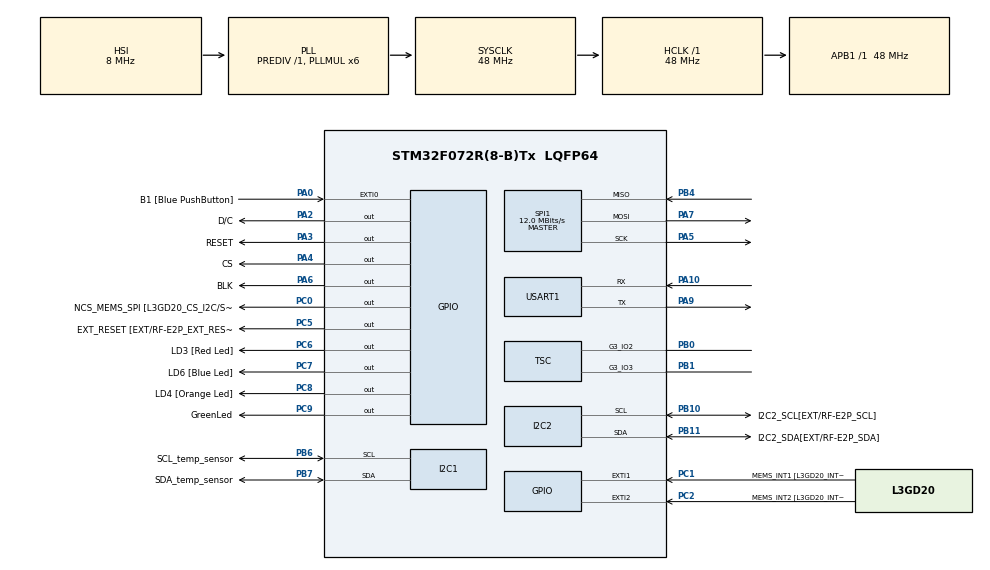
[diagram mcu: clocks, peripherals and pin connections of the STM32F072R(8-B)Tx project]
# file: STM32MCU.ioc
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I2C1.Timing=0x00201D2B
I2C2.Timing=0x20303E5D
Mcu.Family=STM32F0
Mcu.Name=STM32F072R(8-B)Tx
Mcu.Package=LQFP64
NVIC.TIM7_IRQn=true\:0\:0\:false\:false\:true\:true\:true\:true
PA0.GPIO_Label=B1 [Blue PushButton]
PA0.GPIO_ModeDefaultEXTI=GPIO_MODE_EVT_RISING
PA0.Signal=GPXTI0
PA10.Mode=Asynchronous
PA10.Signal=USART1_RX
PA13.GPIO_Label=SWDIO
PA13.Mode=Serial_Wire
PA13.Signal=SYS_SWDIO
PA14.GPIO_Label=SWCLK
PA14.Mode=Serial_Wire
PA14.Signal=SYS_SWCLK
PA2.GPIO_Label=D/C
PA2.Signal=GPIO_Output
PA3.GPIO_Label=RESET
PA3.Signal=GPIO_Output
PA4.GPIO_Label=CS
PA4.GPIO_Speed=GPIO_SPEED_FREQ_HIGH
PA4.PinState=GPIO_PIN_SET
PA4.Signal=GPIO_Output
PA5.Mode=Full_Duplex_Master
PA5.Signal=SPI1_SCK
PA6.GPIO_Label=BLK
PA6.Signal=GPIO_Output
PA7.Mode=Full_Duplex_Master
PA7.Signal=SPI1_MOSI
PA9.Mode=Asynchronous
PA9.Signal=USART1_TX
PB0.Mode=G3_IO2-Channel
PB0.Signal=TSC_G3_IO2
PB1.Mode=G3_IO3-Sampling
PB1.Signal=TSC_G3_IO3
PB10.GPIO_Label=I2C2_SCL[EXT/RF-E2P_SCL]
PB10.GPIO_Pu=GPIO_PULLUP
PB10.Mode=I2C
PB10.Signal=I2C2_SCL
PB11.GPIO_Label=I2C2_SDA[EXT/RF-E2P_SDA]
PB11.GPIO_Pu=GPIO_PULLUP
PB11.Mode=I2C
PB11.Signal=I2C2_SDA
PB4.Mode=Full_Duplex_Master
PB4.Signal=SPI1_MISO
PB6.GPIO_Label=SCL_temp_sensor
PB6.GPIO_Pu=GPIO_PULLUP
PB6.Mode=I2C
PB6.Signal=I2C1_SCL
PB7.GPIO_Label=SDA_temp_sensor
PB7.GPIO_Pu=GPIO_PULLUP
PB7.Mode=I2C
PB7.Signal=I2C1_SDA
PC0.GPIO_Label=NCS_MEMS_SPI [L3GD20_CS_I2C/SPI]
PC0.Signal=GPIO_Output
PC1.GPIO_Label=MEMS_INT1 [L3GD20_INT1]
PC1.GPIO_ModeDefaultEXTI=GPIO_MODE_EVT_RISING
PC1.Signal=GPXTI1
PC2.GPIO_Label=MEMS_INT2 [L3GD20_INT2]
PC2.GPIO_ModeDefaultEXTI=GPIO_MODE_EVT_RISING
PC2.Signal=GPXTI2
PC5.GPIO_Label=EXT_RESET [EXT/RF-E2P_EXT_RESET]
PC5.Signal=GPIO_Output
PC6.GPIO_Label=LD3 [Red Led]
PC6.Signal=GPIO_Output
PC7.GPIO_Label=LD6 [Blue Led]
PC7.Signal=GPIO_Output
PC8.GPIO_Label=LD4 [Orange Led]
PC8.Signal=GPIO_Output
PC9.GPIO_Label=GreenLed
PC9.Signal=GPIO_Output
ProjectManager.HeapSize=0x200
ProjectManager.StackSize=0x400
ProjectManager.TargetToolchain=STM32CubeIDE
RCC.AHBFreq_Value=48000000
RCC.APB1Freq_Value=48000000
RCC.APB1TimFreq_Value=48000000
RCC.HCLKFreq_Value=48000000
RCC.PLLMUL=RCC_PLL_MUL6
RCC.SYSCLKFreq_VALUE=48000000
RCC.SYSCLKSource=RCC_SYSCLKSOURCE_PLLCLK
SPI1.BaudRatePrescaler=SPI_BAUDRATEPRESCALER_4
SPI1.CLKPolarity=SPI_POLARITY_LOW
SPI1.CalculateBaudRate=12.0 MBits/s
SPI1.DataSize=SPI_DATASIZE_8BIT
SPI1.Direction=SPI_DIRECTION_2LINES
SPI1.Mode=SPI_MODE_MASTER
SPI1.NSSPMode=SPI_NSS_PULSE_DISABLE
SPI1.VirtualType=VM_MASTER
TIM7.AutoReloadPreload=TIM_AUTORELOAD_PRELOAD_DISABLE
TIM7.Period=4800
TIM7.Prescaler=0
TSC.ChannelIOs-G3_IO2=TSC_GROUP3_IO2
TSC.ChannelIOs-G3_IO2-Channel=TSC_GROUP3_IO2
TSC.SamplingIOs-G3_IO3=TSC_GROUP3_IO3
TSC.SamplingIOs-G3_IO3-Sampling=TSC_GROUP3_IO3
USART1.VirtualMode-Asynchronous=VM_ASYNC
VP_TIM7_VS_ClockSourceINT.Mode=Enable_Timer
board=STM32F072B-DISCO

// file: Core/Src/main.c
/* USER CODE BEGIN Header */
/**
  ******************************************************************************
  * @file           : main.c
  * @brief          : Main program body
  ******************************************************************************
  * @attention
  *
  * Copyright (c) 2024 STMicroelectronics.
  * All rights reserved.
  *
  * This software is licensed under terms that can be found in the LICENSE file
  * in the root directory of this software component.
  * If no LICENSE file comes with this software, it is provided AS-IS.
  *
  ******************************************************************************
  */
/* USER CODE END Header */
#include "main.h"

/* USER CODE BEGIN Includes */
#include <stdbool.h>
#include <stdio.h>
#include "tft.h"
#include "temperature.h"
#include "usbPowerDelivery.h"
/* USER CODE END Includes */

/* USER CODE BEGIN PTD */
#define HEARTBEAT_LED_TOGGLE_PERIOD_SEC  1.0

/* USER CODE END PTD */

I2C_HandleTypeDef hi2c1;
I2C_HandleTypeDef hi2c2;

SPI_HandleTypeDef hspi1;

TIM_HandleTypeDef htim7;

TSC_HandleTypeDef htsc;

UART_HandleTypeDef huart1;

/* USER CODE BEGIN PV */
static bool TIM7_IntFlag = false;
static uint16_t numTimer7InterruptsPerSec;

/* USER CODE END PV */

void SystemClock_Config(void);
static void MX_GPIO_Init(void);
static void MX_I2C2_Init(void);
static void MX_TSC_Init(void);
static void MX_TIM7_Init(void);
static void MX_I2C1_Init(void);
static void MX_SPI1_Init(void);
static void MX_USART1_UART_Init(void);

int main(void)
{

  /* USER CODE BEGIN 1 */
  char uartBuf[50];
  uint8_t uartBufLen;
  char spiBuf[20];
  /* USER CODE END 1 */

  /* MCU Configuration--------------------------------------------------------*/

  /* Reset of all peripherals, Initializes the Flash interface and the Systick. */
  HAL_Init();

  /* USER CODE BEGIN Init */
  //lcdInit(stInitCmds);
  /* USER CODE END Init */

  /* Configure the system clock */
  SystemClock_Config();

  /* Initialize all configured peripherals */
  MX_GPIO_Init();
  MX_I2C2_Init();
  MX_TSC_Init();
  MX_TIM7_Init();
  MX_I2C1_Init();
  MX_SPI1_Init();
  MX_USART1_UART_Init();
  /* USER CODE BEGIN 2 */
  numTimer7InterruptsPerSec = ((HAL_RCC_GetSysClockFreq() / (TIM7->PSC + 1)) / TIM7->ARR);
  uint16_t heartbeatToggleCounter = (uint16_t)(HEARTBEAT_LED_TOGGLE_PERIOD_SEC *
		                                       numTimer7InterruptsPerSec);
  //tft_select();
  temperatureInit();
  usbPowerDeliveryInit();
  HAL_TIM_Base_Start_IT(&htim7);

  uartBufLen = sprintf(uartBuf, "SPI Test\r\n");
  HAL_UART_Transmit(&huart1, (uint8_t *)uartBuf, uartBufLen, 100);
  lcdInit(stInitCmds);
  HAL_SPI_Receive(&hspi1, (uint8_t *)spiBuf, 1, 100);

  uartBufLen = sprintf(uartBuf, "Status: 0x%02x\r\n", (unsigned int)spiBuf[0]);
  HAL_UART_Transmit(&huart1, (uint8_t *)uartBuf, uartBufLen, 100);

  /* USER CODE END 2 */

  /* Infinite loop */
  /* USER CODE BEGIN WHILE */

  // testing only remove   temperatureStateMachine();
  temperatureStateMachine();
  usbPowerDeliveryStateMachine();
  while (1)
  {
	  // Timer 7 is currently set up to interrupt every 100us
	  if (true == TIM7_IntFlag) {
		  static uint16_t counter = 0;

		  if (++counter >= heartbeatToggleCounter) {
		  	  HAL_GPIO_TogglePin(GreenLed_GPIO_Port, GreenLed_Pin);
		  	  counter = 0;
	      }

		  //temperatureStateMachine();

		  TIM7_IntFlag = false;
	  }
    /* USER CODE END WHILE */

  }
}

void SystemClock_Config(void)
{
  RCC_OscInitTypeDef RCC_OscInitStruct = {0};
  RCC_ClkInitTypeDef RCC_ClkInitStruct = {0};
  RCC_PeriphCLKInitTypeDef PeriphClkInit = {0};

  /** Initializes the RCC Oscillators according to the specified parameters
  * in the RCC_OscInitTypeDef structure.
  */
  RCC_OscInitStruct.OscillatorType = RCC_OSCILLATORTYPE_HSI;
  RCC_OscInitStruct.HSIState = RCC_HSI_ON;
  RCC_OscInitStruct.HSICalibrationValue = RCC_HSICALIBRATION_DEFAULT;
  RCC_OscInitStruct.PLL.PLLState = RCC_PLL_ON;
  RCC_OscInitStruct.PLL.PLLSource = RCC_PLLSOURCE_HSI;
  RCC_OscInitStruct.PLL.PLLMUL = RCC_PLL_MUL6;
  RCC_OscInitStruct.PLL.PREDIV = RCC_PREDIV_DIV1;
  if (HAL_RCC_OscConfig(&RCC_OscInitStruct) != HAL_OK)
  {
    Error_Handler();
  }

  /** Initializes the CPU, AHB and APB buses clocks
  */
  RCC_ClkInitStruct.ClockType = RCC_CLOCKTYPE_HCLK|RCC_CLOCKTYPE_SYSCLK
                              |RCC_CLOCKTYPE_PCLK1;
  RCC_ClkInitStruct.SYSCLKSource = RCC_SYSCLKSOURCE_PLLCLK;
  RCC_ClkInitStruct.AHBCLKDivider = RCC_SYSCLK_DIV1;
  RCC_ClkInitStruct.APB1CLKDivider = RCC_HCLK_DIV1;

  if (HAL_RCC_ClockConfig(&RCC_ClkInitStruct, FLASH_LATENCY_1) != HAL_OK)
  {
    Error_Handler();
  }
  PeriphClkInit.PeriphClockSelection = RCC_PERIPHCLK_USART1|RCC_PERIPHCLK_I2C1;
  PeriphClkInit.Usart1ClockSelection = RCC_USART1CLKSOURCE_PCLK1;
  PeriphClkInit.I2c1ClockSelection = RCC_I2C1CLKSOURCE_HSI;
  if (HAL_RCCEx_PeriphCLKConfig(&PeriphClkInit) != HAL_OK)
  {
    Error_Handler();
  }
}

static void MX_I2C1_Init(void)
{

  hi2c1.Instance = I2C1;
  hi2c1.Init.Timing = 0x00201D2B;
  hi2c1.Init.OwnAddress1 = 0;
  hi2c1.Init.AddressingMode = I2C_ADDRESSINGMODE_7BIT;
  hi2c1.Init.DualAddressMode = I2C_DUALADDRESS_DISABLE;
  hi2c1.Init.OwnAddress2 = 0;
  hi2c1.Init.OwnAddress2Masks = I2C_OA2_NOMASK;
  hi2c1.Init.GeneralCallMode = I2C_GENERALCALL_DISABLE;
  hi2c1.Init.NoStretchMode = I2C_NOSTRETCH_DISABLE;
  if (HAL_I2C_Init(&hi2c1) != HAL_OK)
  {
    Error_Handler();
  }

  /** Configure Analogue filter
  */
  if (HAL_I2CEx_ConfigAnalogFilter(&hi2c1, I2C_ANALOGFILTER_ENABLE) != HAL_OK)
  {
    Error_Handler();
  }

  /** Configure Digital filter
  */
  if (HAL_I2CEx_ConfigDigitalFilter(&hi2c1, 0) != HAL_OK)
  {
    Error_Handler();
  }

}

static void MX_I2C2_Init(void)
{

  hi2c2.Instance = I2C2;
  hi2c2.Init.Timing = 0x20303E5D;
  hi2c2.Init.OwnAddress1 = 0;
  hi2c2.Init.AddressingMode = I2C_ADDRESSINGMODE_7BIT;
  hi2c2.Init.DualAddressMode = I2C_DUALADDRESS_DISABLE;
  hi2c2.Init.OwnAddress2 = 0;
  hi2c2.Init.OwnAddress2Masks = I2C_OA2_NOMASK;
  hi2c2.Init.GeneralCallMode = I2C_GENERALCALL_DISABLE;
  hi2c2.Init.NoStretchMode = I2C_NOSTRETCH_DISABLE;
  if (HAL_I2C_Init(&hi2c2) != HAL_OK)
  {
    Error_Handler();
  }

  /** Configure Analogue filter
  */
  if (HAL_I2CEx_ConfigAnalogFilter(&hi2c2, I2C_ANALOGFILTER_ENABLE) != HAL_OK)
  {
    Error_Handler();
  }

  /** Configure Digital filter
  */
  if (HAL_I2CEx_ConfigDigitalFilter(&hi2c2, 0) != HAL_OK)
  {
    Error_Handler();
  }

}

static void MX_SPI1_Init(void)
{

  /* SPI1 parameter configuration*/
  hspi1.Instance = SPI1;
  hspi1.Init.Mode = SPI_MODE_MASTER;
  hspi1.Init.Direction = SPI_DIRECTION_2LINES;
  hspi1.Init.DataSize = SPI_DATASIZE_8BIT;
  hspi1.Init.CLKPolarity = SPI_POLARITY_LOW;
  hspi1.Init.CLKPhase = SPI_PHASE_1EDGE;
  hspi1.Init.NSS = SPI_NSS_SOFT;
  hspi1.Init.BaudRatePrescaler = SPI_BAUDRATEPRESCALER_4;
  hspi1.Init.FirstBit = SPI_FIRSTBIT_MSB;
  hspi1.Init.TIMode = SPI_TIMODE_DISABLE;
  hspi1.Init.CRCCalculation = SPI_CRCCALCULATION_DISABLE;
  hspi1.Init.CRCPolynomial = 7;
  hspi1.Init.CRCLength = SPI_CRC_LENGTH_DATASIZE;
  hspi1.Init.NSSPMode = SPI_NSS_PULSE_DISABLE;
  if (HAL_SPI_Init(&hspi1) != HAL_OK)
  {
    Error_Handler();
  }

}

static void MX_TIM7_Init(void)
{

  TIM_MasterConfigTypeDef sMasterConfig = {0};

  htim7.Instance = TIM7;
  htim7.Init.Prescaler = 0;
  htim7.Init.CounterMode = TIM_COUNTERMODE_UP;
  htim7.Init.Period = 4800;
  htim7.Init.AutoReloadPreload = TIM_AUTORELOAD_PRELOAD_DISABLE;
  if (HAL_TIM_Base_Init(&htim7) != HAL_OK)
  {
    Error_Handler();
  }
  sMasterConfig.MasterOutputTrigger = TIM_TRGO_RESET;
  sMasterConfig.MasterSlaveMode = TIM_MASTERSLAVEMODE_DISABLE;
  if (HAL_TIMEx_MasterConfigSynchronization(&htim7, &sMasterConfig) != HAL_OK)
  {
    Error_Handler();
  }

}

static void MX_TSC_Init(void)
{

  /** Configure the TSC peripheral
  */
  htsc.Instance = TSC;
  htsc.Init.CTPulseHighLength = TSC_CTPH_2CYCLES;
  htsc.Init.CTPulseLowLength = TSC_CTPL_2CYCLES;
  htsc.Init.SpreadSpectrum = DISABLE;
  htsc.Init.SpreadSpectrumDeviation = 1;
  htsc.Init.SpreadSpectrumPrescaler = TSC_SS_PRESC_DIV1;
  htsc.Init.PulseGeneratorPrescaler = TSC_PG_PRESC_DIV4;
  htsc.Init.MaxCountValue = TSC_MCV_8191;
  htsc.Init.IODefaultMode = TSC_IODEF_OUT_PP_LOW;
  htsc.Init.SynchroPinPolarity = TSC_SYNC_POLARITY_FALLING;
  htsc.Init.AcquisitionMode = TSC_ACQ_MODE_NORMAL;
  htsc.Init.MaxCountInterrupt = DISABLE;
  htsc.Init.ChannelIOs = TSC_GROUP3_IO2;
  htsc.Init.ShieldIOs = 0;
  htsc.Init.SamplingIOs = TSC_GROUP3_IO3;
  if (HAL_TSC_Init(&htsc) != HAL_OK)
  {
    Error_Handler();
  }

}

static void MX_USART1_UART_Init(void)
{

  huart1.Instance = USART1;
  huart1.Init.BaudRate = 38400;
  huart1.Init.WordLength = UART_WORDLENGTH_8B;
  huart1.Init.StopBits = UART_STOPBITS_1;
  huart1.Init.Parity = UART_PARITY_NONE;
  huart1.Init.Mode = UART_MODE_TX_RX;
  huart1.Init.HwFlowCtl = UART_HWCONTROL_NONE;
  huart1.Init.OverSampling = UART_OVERSAMPLING_16;
  huart1.Init.OneBitSampling = UART_ONE_BIT_SAMPLE_DISABLE;
  huart1.AdvancedInit.AdvFeatureInit = UART_ADVFEATURE_NO_INIT;
  if (HAL_UART_Init(&huart1) != HAL_OK)
  {
    Error_Handler();
  }

}

static void MX_GPIO_Init(void)
{
  GPIO_InitTypeDef GPIO_InitStruct = {0};

  /* GPIO Ports Clock Enable */
  __HAL_RCC_GPIOC_CLK_ENABLE();
  __HAL_RCC_GPIOA_CLK_ENABLE();
  __HAL_RCC_GPIOB_CLK_ENABLE();

  /*Configure GPIO pin Output Level */
  HAL_GPIO_WritePin(GPIOC, NCS_MEMS_SPI_Pin|EXT_RESET_Pin|LD3_Pin|LD6_Pin
                          |LD4_Pin|GreenLed_Pin, GPIO_PIN_RESET);

  /*Configure GPIO pin Output Level */
  HAL_GPIO_WritePin(GPIOA, D_C_Pin|RESET_Pin|BLK_Pin, GPIO_PIN_RESET);

  /*Configure GPIO pin Output Level */
  HAL_GPIO_WritePin(CS_GPIO_Port, CS_Pin, GPIO_PIN_SET);

  /*Configure GPIO pins : NCS_MEMS_SPI_Pin EXT_RESET_Pin LD3_Pin LD6_Pin
                           LD4_Pin GreenLed_Pin */
  GPIO_InitStruct.Pin = NCS_MEMS_SPI_Pin|EXT_RESET_Pin|LD3_Pin|LD6_Pin
                          |LD4_Pin|GreenLed_Pin;
  GPIO_InitStruct.Mode = GPIO_MODE_OUTPUT_PP;
  GPIO_InitStruct.Pull = GPIO_NOPULL;
  GPIO_InitStruct.Speed = GPIO_SPEED_FREQ_LOW;
  HAL_GPIO_Init(GPIOC, &GPIO_InitStruct);

  /*Configure GPIO pins : MEMS_INT1_Pin MEMS_INT2_Pin */
  GPIO_InitStruct.Pin = MEMS_INT1_Pin|MEMS_INT2_Pin;
  GPIO_InitStruct.Mode = GPIO_MODE_EVT_RISING;
  GPIO_InitStruct.Pull = GPIO_NOPULL;
  HAL_GPIO_Init(GPIOC, &GPIO_InitStruct);

  /*Configure GPIO pin : B1_Pin */
  GPIO_InitStruct.Pin = B1_Pin;
  GPIO_InitStruct.Mode = GPIO_MODE_EVT_RISING;
  GPIO_InitStruct.Pull = GPIO_NOPULL;
  HAL_GPIO_Init(B1_GPIO_Port, &GPIO_InitStruct);

  /*Configure GPIO pins : D_C_Pin RESET_Pin BLK_Pin */
  GPIO_InitStruct.Pin = D_C_Pin|RESET_Pin|BLK_Pin;
  GPIO_InitStruct.Mode = GPIO_MODE_OUTPUT_PP;
  GPIO_InitStruct.Pull = GPIO_NOPULL;
  GPIO_InitStruct.Speed = GPIO_SPEED_FREQ_LOW;
  HAL_GPIO_Init(GPIOA, &GPIO_InitStruct);

  /*Configure GPIO pin : CS_Pin */
  GPIO_InitStruct.Pin = CS_Pin;
  GPIO_InitStruct.Mode = GPIO_MODE_OUTPUT_PP;
  GPIO_InitStruct.Pull = GPIO_NOPULL;
  GPIO_InitStruct.Speed = GPIO_SPEED_FREQ_HIGH;
  HAL_GPIO_Init(CS_GPIO_Port, &GPIO_InitStruct);

}

/* USER CODE BEGIN 4 */
void TIM7_SetIntFlag(void) {
	TIM7_IntFlag = true;
}

I2C_HandleTypeDef * get_i2c1_handle(void) {
	return &hi2c1;
}
SPI_HandleTypeDef * get_spi1_handle(void) {
	return &hspi1;
}

uint16_t getNumTimer7InterruptsPerSec(void) {
	return numTimer7InterruptsPerSec;
}

/* USER CODE END 4 */

void Error_Handler(void)
{
  __disable_irq();
  while (1)
  {
  }
}
